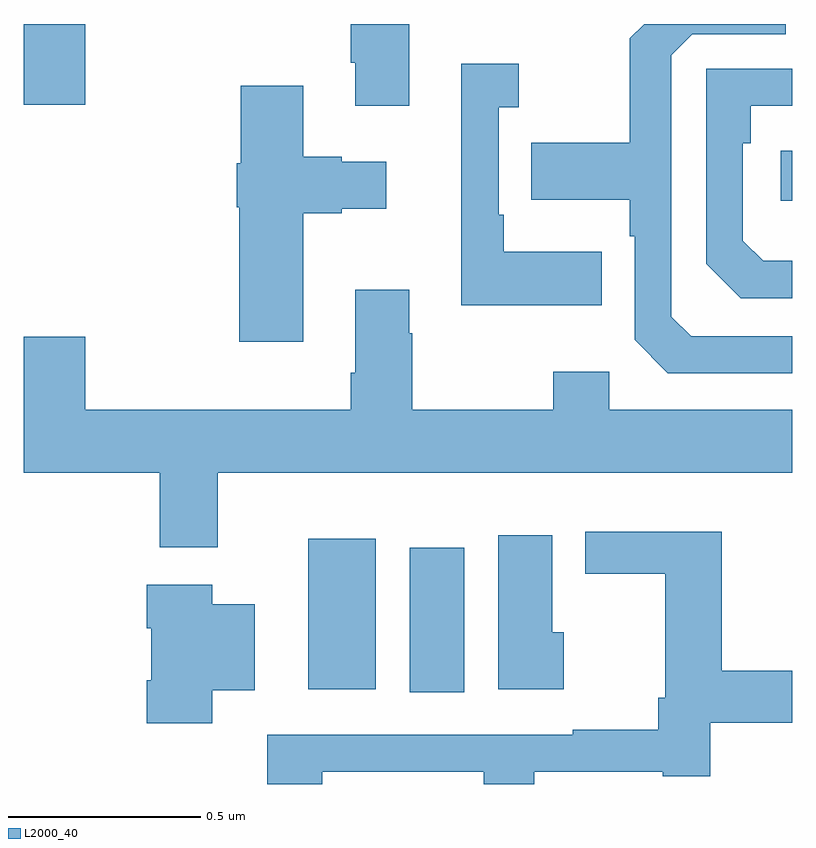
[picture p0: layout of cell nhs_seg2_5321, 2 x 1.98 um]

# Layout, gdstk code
import gdstk
lib = gdstk.Library(unit=1e-6, precision=1e-09)
def R(c, l, rs):  # rectangles x0, y0, x1, y1
    for r in rs: c.add(gdstk.rectangle(r[:2], r[2:], *l))
def P(c, l, *ps):  # polygons
    for p in ps: c.add(gdstk.Polygon(p, *l))
L2000_40 = (2000, 40)

nhs_seg2_5321 = lib.new_cell('nhs_seg2_5321')
R(nhs_seg2_5321, L2000_40, [(178.004,651.06,178.147,651.436), (177.74,651.068,177.916,651.46), (178.971,652.34,179,652.47), (177,652.59,177.16,652.8)])
P(nhs_seg2_5321, L2000_40, [(179,651.987),(178.737,651.987),(178.686,652.038),(178.686,652.719),(178.74,652.773),(178.984,652.773),(178.984,652.8),(178.615,652.8),(178.578,652.763),(178.578,652.491),(178.321,652.491),(178.321,652.343),(178.578,652.343),(178.578,652.247),(178.59,652.247),(178.59,651.978),(178.677,651.891),(179,651.891)],
  [(178.003,652.8),(177.851,652.8),(177.851,652.699),(177.863,652.699),(177.863,652.587),(178.003,652.587)],
  [(178.505,652.207),(178.249,652.207),(178.249,652.303),(178.236,652.303),(178.236,652.583),(178.288,652.583),(178.288,652.696),(178.139,652.696),(178.139,652.067),(178.505,652.067)],
  [(179,652.183),(178.925,652.183),(178.872,652.236),(178.872,652.49),(178.892,652.49),(178.892,652.587),(179,652.587),(179,652.683),(178.776,652.683),(178.776,652.176),(178.866,652.086),(179,652.086)],
  [(177.727,652.307),(177.827,652.307),(177.827,652.319),(177.943,652.319),(177.943,652.441),(177.827,652.441),(177.827,652.454),(177.727,652.454),(177.727,652.639),(177.565,652.639),(177.565,652.437),(177.554,652.437),(177.554,652.323),(177.56,652.323),(177.56,651.972),(177.727,651.972)],
  [(177.505,651.632),(179,651.632),(179,651.796),(178.524,651.796),(178.524,651.895),(178.378,651.895),(178.378,651.796),(178.011,651.796),(178.011,651.995),(178.003,651.995),(178.003,652.108),(177.863,652.108),(177.863,651.892),(177.851,651.892),(177.851,651.796),(177.16,651.796),(177.16,651.985),(177,651.985),(177,651.632),(177.353,651.632),(177.353,651.438),(177.505,651.438)],
  [(177.777,650.853),(178.197,650.853),(178.197,650.821),(178.329,650.821),(178.329,650.853),(178.664,650.853),(178.664,650.841),(178.787,650.841),(178.787,650.98),(179,650.98),(179,651.116),(178.817,651.116),(178.817,651.478),(178.461,651.478),(178.461,651.369),(178.67,651.369),(178.67,651.046),(178.651,651.046),(178.651,650.962),(178.429,650.962),(178.429,650.949),(177.633,650.949),(177.633,650.821),(177.777,650.821)],
  [(178.405,651.216),(178.375,651.216),(178.375,651.469),(178.235,651.469),(178.235,651.068),(178.405,651.068)],
  [(177.49,651.065),(177.601,651.065),(177.601,651.289),(177.49,651.289),(177.49,651.34),(177.32,651.34),(177.32,651.227),(177.332,651.227),(177.332,651.091),(177.32,651.091),(177.32,650.979),(177.49,650.979)])

lib.write_gds('nhs_seg2_5321.gds')
